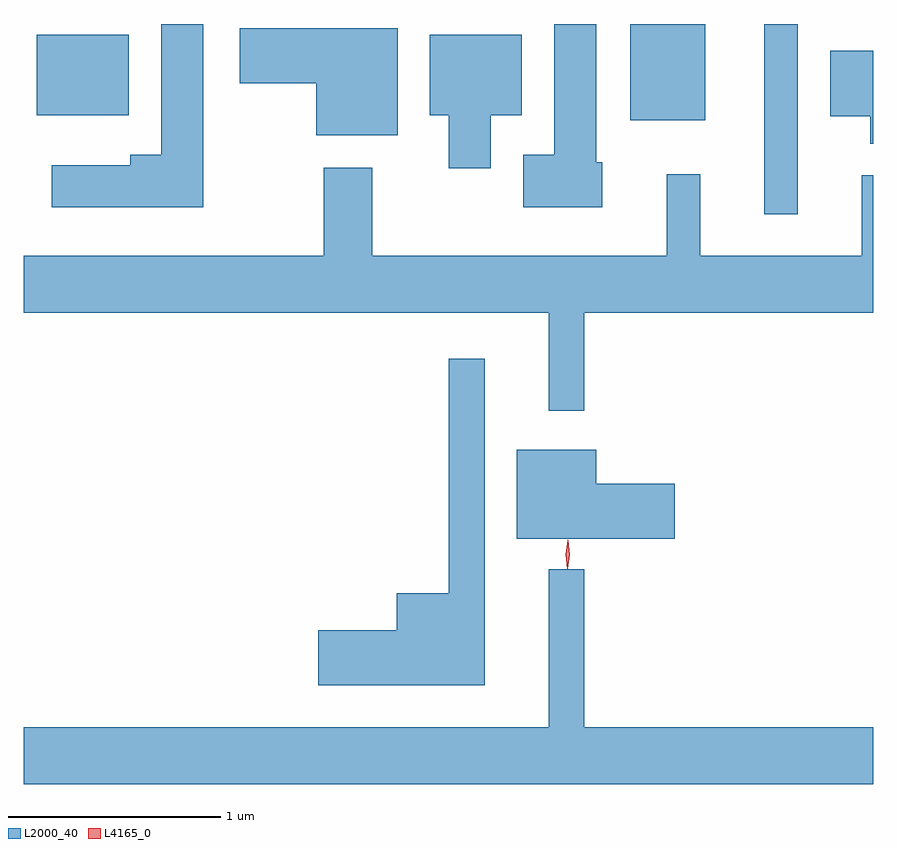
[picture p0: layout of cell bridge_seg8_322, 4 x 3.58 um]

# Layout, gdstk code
import gdstk
lib = gdstk.Library(unit=1e-6, precision=1e-09)
def R(c, l, rs):  # rectangles x0, y0, x1, y1
    for r in rs: c.add(gdstk.rectangle(r[:2], r[2:], *l))
def P(c, l, *ps):  # polygons
    for p in ps: c.add(gdstk.Polygon(p, *l))
L2000_40 = (2000, 40)
L4165_0 = (4165, 0)

bridge_seg8_322 = lib.new_cell('bridge_seg8_322')
R(bridge_seg8_322, L2000_40, [(839.366,1903.478,839.524,1904.375), (838.736,1903.921,839.089,1904.375), (835.941,1903.946,836.374,1904.324)])
P(bridge_seg8_322, L2000_40, [(836.724,1904.375),(836.526,1904.375),(836.526,1903.759),(836.381,1903.759),(836.381,1903.709),(836.011,1903.709),(836.011,1903.511),(836.724,1903.511)],
  [(838.604,1903.724),(838.574,1903.724),(838.574,1904.375),(838.376,1904.375),(838.376,1903.759),(838.231,1903.759),(838.231,1903.511),(838.604,1903.511)],
  [(837.639,1904.354),(836.896,1904.354),(836.896,1904.096),(837.256,1904.096),(837.256,1903.851),(837.639,1903.851)],
  [(838.079,1903.946),(838.224,1903.946),(838.224,1904.324),(837.791,1904.324),(837.791,1903.946),(837.881,1903.946),(837.881,1903.696),(838.079,1903.696)],
  [(839.879,1904.249),(839.676,1904.249),(839.676,1903.941),(839.866,1903.941),(839.866,1903.811),(839.879,1903.811)],
  [(838.519,1903.016),(839.879,1903.016),(839.879,1903.663),(839.826,1903.663),(839.826,1903.284),(839.064,1903.284),(839.064,1903.668),(838.906,1903.668),(838.906,1903.284),(837.519,1903.284),(837.519,1903.699),(837.291,1903.699),(837.291,1903.284),(835.879,1903.284),(835.879,1903.016),(838.351,1903.016),(838.351,1902.553),(838.519,1902.553)],
  [(838.049,1902.798),(837.881,1902.798),(837.881,1901.694),(837.636,1901.694),(837.636,1901.519),(837.266,1901.519),(837.266,1901.261),(838.049,1901.261)],
  [(838.944,1902.209),(838.574,1902.209),(838.574,1902.369),(838.201,1902.369),(838.201,1901.951),(838.944,1901.951)],
  [(839.879,1901.064),(838.519,1901.064),(838.519,1901.808),(838.351,1901.808),(838.351,1901.064),(835.879,1901.064),(835.879,1900.796),(839.879,1900.796)])
P(bridge_seg8_322, L4165_0, [(838.439,1901.81),(838.43,1901.878),(838.441,1901.945),(838.441,1901.946),(838.442,1901.945),(838.45,1901.878),(838.44,1901.81),(838.44,1901.81)],
  [(838.439,1901.813),(838.431,1901.876),(838.441,1901.939),(838.441,1901.94),(838.442,1901.939),(838.45,1901.876),(838.44,1901.813),(838.44,1901.813)])

lib.write_gds('bridge_seg8_322.gds')
